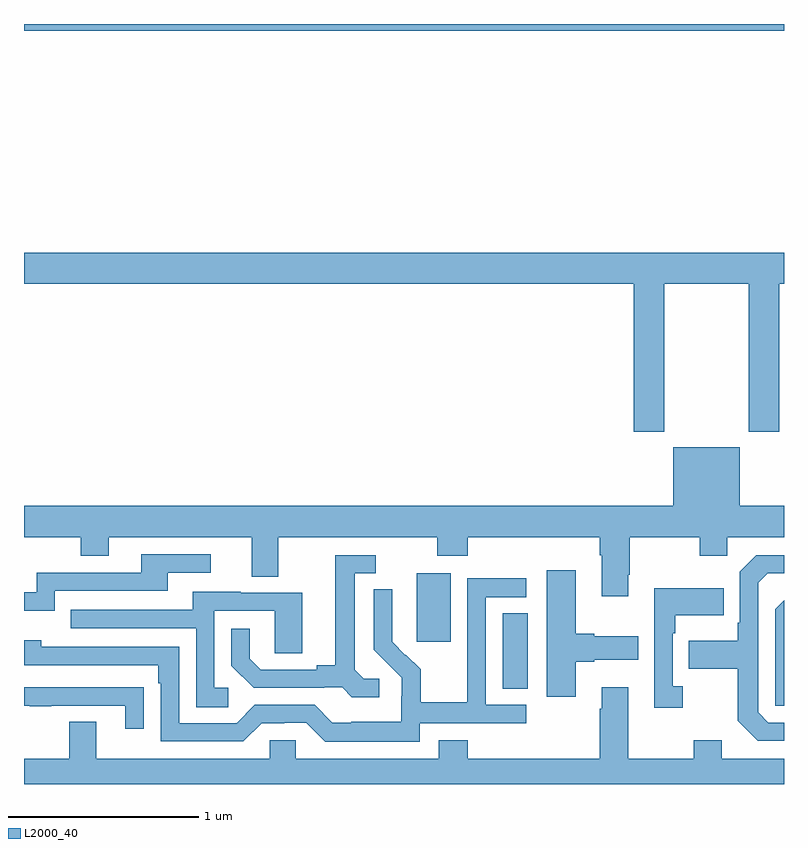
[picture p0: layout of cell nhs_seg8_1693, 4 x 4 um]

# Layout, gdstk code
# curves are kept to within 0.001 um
import gdstk
lib = gdstk.Library(unit=1e-6, precision=1e-09)
def R(c, l, rs):  # rectangles x0, y0, x1, y1
    for r in rs: c.add(gdstk.rectangle(r[:2], r[2:], *l))
def P(c, l, *ps):  # polygons
    for p in ps: c.add(gdstk.Polygon(p, *l))
L2000_40 = (2000, 40)

nhs_seg8_1693 = lib.new_cell('nhs_seg8_1693')
R(nhs_seg8_1693, L2000_40, [(221.519,1082.401,221.65,1082.798), (221.066,1082.649,221.245,1083.01), (219,1085.864,223,1085.9)])
P(nhs_seg8_1693, L2000_40, [(219,1084.532),(222.209,1084.532),(222.209,1083.753),(222.369,1083.753),(222.369,1084.532),(222.814,1084.532),(222.814,1083.753),(222.974,1083.753),(222.974,1084.532),(223,1084.532),(223,1084.696),(219,1084.696)],
  [(222.181,1083.001),(222.189,1083.001),(222.189,1083.2),(222.556,1083.2),(222.556,1083.101),(222.702,1083.101),(222.702,1083.2),(223,1083.2),(223,1083.364),(222.766,1083.364),(222.766,1083.673),(222.416,1083.673),(222.416,1083.364),(219,1083.364),(219,1083.2),(219.298,1083.2),(219.298,1083.101),(219.445,1083.101),(219.445,1083.2),(220.199,1083.2),(220.199,1082.992),(220.339,1082.992),(220.339,1083.2),(221.176,1083.2),(221.176,1083.101),(221.336,1083.101),(221.336,1083.2),(222.029,1083.2),(222.029,1083.104),(222.041,1083.104),(222.041,1082.889),(222.181,1082.889)],
  [(219.162,1082.916),(219.757,1082.916),(219.757,1083.012),(219.982,1083.012),(219.982,1083.108),(219.617,1083.108),(219.617,1083.012),(219.066,1083.012),(219.066,1082.91),(219,1082.91),(219,1082.813),(219.162,1082.813)],
  [(220.87,1082.454),(220.788,1082.454),(220.741,1082.501),(220.741,1083.009),(220.852,1083.009),(220.852,1083.105),(220.637,1083.105),(220.637,1082.525),(220.541,1082.525),(220.541,1082.502),(220.246,1082.502),(220.189,1082.559),(220.189,1082.716),(220.092,1082.716),(220.092,1082.522),(220.208,1082.406),(220.58,1082.406),(220.58,1082.409),(220.674,1082.409),(220.726,1082.357),(220.87,1082.357)],
  [(223,1082.223),(222.918,1082.223),(222.864,1082.277),(222.864,1082.958),(222.915,1083.009),(223,1083.009),(223,1083.105),(222.855,1083.105),(222.768,1083.018),(222.768,1082.749),(222.756,1082.749),(222.756,1082.653),(222.499,1082.653),(222.499,1082.506),(222.756,1082.506),(222.756,1082.233),(222.861,1082.127),(223,1082.127)],
  [(221.905,1082.543),(222.001,1082.543),(222.001,1082.555),(222.232,1082.555),(222.232,1082.677),(222.001,1082.677),(222.001,1082.69),(221.905,1082.69),(221.905,1083.025),(221.75,1083.025),(221.75,1082.358),(221.905,1082.358)],
  [(221.082,1082.22),(221.644,1082.22),(221.644,1082.316),(221.43,1082.316),(221.43,1082.883),(221.644,1082.883),(221.644,1082.982),(221.334,1082.982),(221.334,1082.552),(221.332,1082.552),(221.332,1082.329),(221.087,1082.329),(221.087,1082.503),(221.01,1082.58),(221.007,1082.577),(220.937,1082.648),(220.938,1082.924),(220.842,1082.924),(220.842,1082.606),(220.988,1082.458),(220.988,1082.361),(220.986,1082.361),(220.986,1082.227),(220.723,1082.227),(220.723,1082.223),(220.623,1082.223),(220.53,1082.316),(220.215,1082.316),(220.119,1082.22),(219.816,1082.22),(219.816,1082.622),(219.092,1082.622),(219.092,1082.656),(219,1082.656),(219,1082.526),(219.707,1082.526),(219.707,1082.429),(219.72,1082.429),(219.72,1082.124),(220.155,1082.124),(220.251,1082.22),(220.37,1082.22),(220.37,1082.223),(220.485,1082.223),(220.585,1082.123),(221.082,1082.123)],
  [(222.466,1082.414),(222.414,1082.414),(222.414,1082.693),(222.427,1082.693),(222.427,1082.789),(222.683,1082.789),(222.683,1082.929),(222.318,1082.929),(222.318,1082.301),(222.466,1082.301)],
  [(220.075,1082.406),(220.002,1082.406),(220.002,1082.811),(220.32,1082.811),(220.32,1082.587),(220.465,1082.587),(220.465,1082.907),(220.141,1082.907),(220.141,1082.911),(219.887,1082.911),(219.887,1082.817),(219.247,1082.817),(219.247,1082.721),(219.906,1082.721),(219.906,1082.305),(220.075,1082.305)],
  [(223,1082.866),(222.954,1082.82),(222.954,1082.313),(223,1082.313)],
  [(223,1082.032),(222.673,1082.032),(222.673,1082.131),(222.526,1082.131),(222.526,1082.032),(222.181,1082.032),(222.181,1082.41),(222.041,1082.41),(222.041,1082.297),(222.029,1082.297),(222.029,1082.032),(221.336,1082.032),(221.336,1082.131),(221.183,1082.131),(221.183,1082.032),(220.431,1082.032),(220.431,1082.13),(220.293,1082.13),(220.293,1082.032),(219.379,1082.032),(219.379,1082.227),(219.239,1082.227),(219.239,1082.032),(219,1082.032),(219,1081.9),(223,1081.9)],
  [(219.629,1082.408),(219.527,1082.408),(219.527,1082.409),(219,1082.409),(219,1082.313),(219.031,1082.313),(219.031,1082.308),(219.143,1082.308),(219.143,1082.313),(219.533,1082.313),(219.533,1082.19),(219.629,1082.19)])

lib.write_gds('nhs_seg8_1693.gds')
